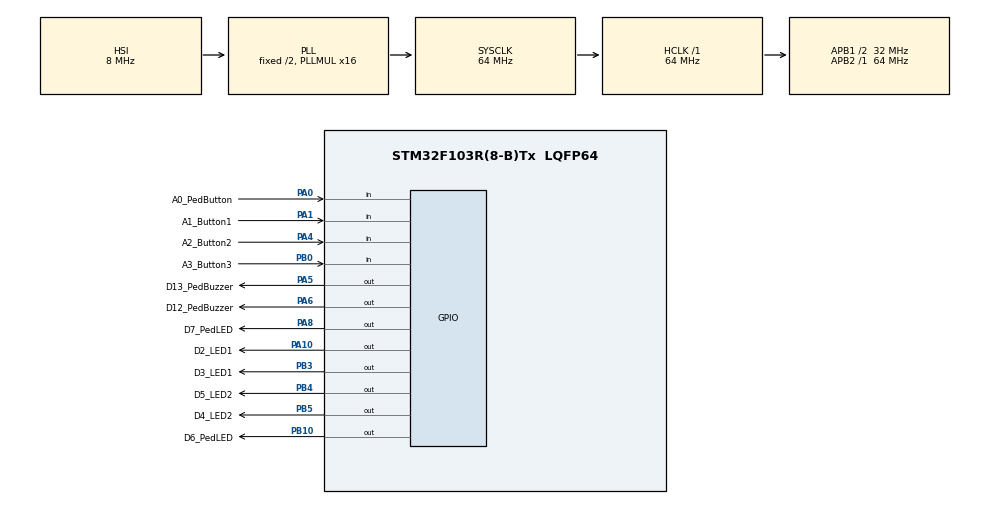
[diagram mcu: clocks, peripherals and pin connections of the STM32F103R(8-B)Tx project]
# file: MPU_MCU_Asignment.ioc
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Mcu.Family=STM32F1
Mcu.Name=STM32F103R(8-B)Tx
Mcu.Package=LQFP64
NVIC.PriorityGroup=NVIC_PRIORITYGROUP_4
NVIC.TIM2_IRQn=true\:0\:0\:false\:false\:true\:true\:true
PA0-WKUP.GPIO_Label=A0_PedButton
PA0-WKUP.Signal=GPIO_Input
PA1.GPIO_Label=A1_Button1
PA1.Signal=GPIO_Input
PA10.GPIO_Label=D2_LED1
PA10.Signal=GPIO_Output
PA13.Mode=Serial_Wire
PA13.Signal=SYS_JTMS-SWDIO
PA14.Mode=Serial_Wire
PA14.Signal=SYS_JTCK-SWCLK
PA4.GPIO_Label=A2_Button2
PA4.Signal=GPIO_Input
PA5.GPIO_Label=D13_PedBuzzer
PA5.Signal=GPIO_Output
PA6.GPIO_Label=D12_PedBuzzer
PA6.Signal=GPIO_Output
PA8.GPIO_Label=D7_PedLED
PA8.Signal=GPIO_Output
PB0.GPIO_Label=A3_Button3
PB0.Signal=GPIO_Input
PB10.GPIO_Label=D6_PedLED
PB10.Signal=GPIO_Output
PB3.GPIO_Label=D3_LED1
PB3.Signal=GPIO_Output
PB4.GPIO_Label=D5_LED2
PB4.Signal=GPIO_Output
PB5.GPIO_Label=D4_LED2
PB5.Signal=GPIO_Output
ProjectManager.HeapSize=0x200
ProjectManager.StackSize=0x400
ProjectManager.TargetToolchain=STM32CubeIDE
RCC.AHBFreq_Value=64000000
RCC.APB1CLKDivider=RCC_HCLK_DIV2
RCC.APB1Freq_Value=32000000
RCC.APB1TimFreq_Value=64000000
RCC.APB2Freq_Value=64000000
RCC.APB2TimFreq_Value=64000000
RCC.HCLKFreq_Value=64000000
RCC.PLLMUL=RCC_PLL_MUL16
RCC.SYSCLKFreq_VALUE=64000000
RCC.SYSCLKSource=RCC_SYSCLKSOURCE_PLLCLK
RCC.USBFreq_Value=64000000
TIM2.Period=9
TIM2.Prescaler=63999
VP_TIM2_VS_ClockSourceINT.Mode=Internal
board=custom

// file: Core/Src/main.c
/* USER CODE BEGIN Header */
/**
  ******************************************************************************
  * @file           : main.c
  * @brief          : Main program body
  ******************************************************************************
  * @attention
  *
  * <h2><center>&copy; Copyright (c) 2023 STMicroelectronics.
  * All rights reserved.</center></h2>
  *
  * This software component is licensed by ST under BSD 3-Clause license,
  * the "License"; You may not use this file except in compliance with the
  * License. You may obtain a copy of the License at:
  *                        opensource.org/licenses/BSD-3-Clause
  *
  ******************************************************************************
  */
/* USER CODE END Header */
#include "main.h"

/* USER CODE BEGIN Includes */
#include "input_processing.h"
#include "led_display.h"
#include "software_timer.h"
#include "input_reading.h"
/* USER CODE END Includes */

TIM_HandleTypeDef htim2;

void SystemClock_Config(void);
static void MX_GPIO_Init(void);
static void MX_TIM2_Init(void);

int main(void)
{

  /* MCU Configuration--------------------------------------------------------*/

  /* Reset of all peripherals, Initializes the Flash interface and the Systick. */
  HAL_Init();

  /* Configure the system clock */
  SystemClock_Config();

  /* Initialize all configured peripherals */
  MX_GPIO_Init();
  MX_TIM2_Init();
  /* USER CODE BEGIN 2 */
  HAL_TIM_Base_Start_IT(&htim2);
  /* USER CODE END 2 */

  /* Infinite loop */
  /* USER CODE BEGIN WHILE */

  const int sevenSegTimer=25;
  setTimer(0,sevenSegTimer);
  setTimer(1,30);
  setTimer(2,25);
  setTimer(3,100);
  setTimer(4,30);
//  int p_flag=0;
  init_for_automatic_leds();
  while (1)
  {
	  fsm_for_input_processing();
//	  button_reading(3);
//	  if(timer_flag[4]==1){
//		  setTimer(4,30);
//		  if(is_button_pressed(3)||is_button_pressed_1s(3)){
//			  if(p_flag==0){
//				  OnPed_Red();
//				  p_flag=1;
//			  }else{
//				  OffPed();
//				  p_flag=0;
//			  }
//		  }
//	  }
    /* USER CODE END WHILE */

  }
}

void SystemClock_Config(void)
{
  RCC_OscInitTypeDef RCC_OscInitStruct = {0};
  RCC_ClkInitTypeDef RCC_ClkInitStruct = {0};

  /** Initializes the RCC Oscillators according to the specified parameters
  * in the RCC_OscInitTypeDef structure.
  */
  RCC_OscInitStruct.OscillatorType = RCC_OSCILLATORTYPE_HSI;
  RCC_OscInitStruct.HSIState = RCC_HSI_ON;
  RCC_OscInitStruct.HSICalibrationValue = RCC_HSICALIBRATION_DEFAULT;
  RCC_OscInitStruct.PLL.PLLState = RCC_PLL_ON;
  RCC_OscInitStruct.PLL.PLLSource = RCC_PLLSOURCE_HSI_DIV2;
  RCC_OscInitStruct.PLL.PLLMUL = RCC_PLL_MUL16;
  if (HAL_RCC_OscConfig(&RCC_OscInitStruct) != HAL_OK)
  {
    Error_Handler();
  }
  /** Initializes the CPU, AHB and APB buses clocks
  */
  RCC_ClkInitStruct.ClockType = RCC_CLOCKTYPE_HCLK|RCC_CLOCKTYPE_SYSCLK
                              |RCC_CLOCKTYPE_PCLK1|RCC_CLOCKTYPE_PCLK2;
  RCC_ClkInitStruct.SYSCLKSource = RCC_SYSCLKSOURCE_PLLCLK;
  RCC_ClkInitStruct.AHBCLKDivider = RCC_SYSCLK_DIV1;
  RCC_ClkInitStruct.APB1CLKDivider = RCC_HCLK_DIV2;
  RCC_ClkInitStruct.APB2CLKDivider = RCC_HCLK_DIV1;

  if (HAL_RCC_ClockConfig(&RCC_ClkInitStruct, FLASH_LATENCY_2) != HAL_OK)
  {
    Error_Handler();
  }
}

static void MX_TIM2_Init(void)
{

  TIM_ClockConfigTypeDef sClockSourceConfig = {0};
  TIM_MasterConfigTypeDef sMasterConfig = {0};

  htim2.Instance = TIM2;
  htim2.Init.Prescaler = 63999;
  htim2.Init.CounterMode = TIM_COUNTERMODE_UP;
  htim2.Init.Period = 9;
  htim2.Init.ClockDivision = TIM_CLOCKDIVISION_DIV1;
  htim2.Init.AutoReloadPreload = TIM_AUTORELOAD_PRELOAD_DISABLE;
  if (HAL_TIM_Base_Init(&htim2) != HAL_OK)
  {
    Error_Handler();
  }
  sClockSourceConfig.ClockSource = TIM_CLOCKSOURCE_INTERNAL;
  if (HAL_TIM_ConfigClockSource(&htim2, &sClockSourceConfig) != HAL_OK)
  {
    Error_Handler();
  }
  sMasterConfig.MasterOutputTrigger = TIM_TRGO_RESET;
  sMasterConfig.MasterSlaveMode = TIM_MASTERSLAVEMODE_DISABLE;
  if (HAL_TIMEx_MasterConfigSynchronization(&htim2, &sMasterConfig) != HAL_OK)
  {
    Error_Handler();
  }

}

static void MX_GPIO_Init(void)
{
  GPIO_InitTypeDef GPIO_InitStruct = {0};

  /* GPIO Ports Clock Enable */
  __HAL_RCC_GPIOA_CLK_ENABLE();
  __HAL_RCC_GPIOB_CLK_ENABLE();

  /*Configure GPIO pin Output Level */
  HAL_GPIO_WritePin(GPIOA, D13_PedBuzzer_Pin|D12_PedBuzzer_Pin|D7_PedLED_Pin|D2_LED1_Pin, GPIO_PIN_RESET);

  /*Configure GPIO pin Output Level */
  HAL_GPIO_WritePin(GPIOB, D6_PedLED_Pin|D3_LED1_Pin|D5_LED2_Pin|D4_LED2_Pin, GPIO_PIN_RESET);

  /*Configure GPIO pins : A0_PedButton_Pin A1_Button1_Pin A2_Button2_Pin */
  GPIO_InitStruct.Pin = A0_PedButton_Pin|A1_Button1_Pin|A2_Button2_Pin;
  GPIO_InitStruct.Mode = GPIO_MODE_INPUT;
  GPIO_InitStruct.Pull = GPIO_NOPULL;
  HAL_GPIO_Init(GPIOA, &GPIO_InitStruct);

  /*Configure GPIO pins : D13_PedBuzzer_Pin D12_PedBuzzer_Pin D7_PedLED_Pin D2_LED1_Pin */
  GPIO_InitStruct.Pin = D13_PedBuzzer_Pin|D12_PedBuzzer_Pin|D7_PedLED_Pin|D2_LED1_Pin;
  GPIO_InitStruct.Mode = GPIO_MODE_OUTPUT_PP;
  GPIO_InitStruct.Pull = GPIO_NOPULL;
  GPIO_InitStruct.Speed = GPIO_SPEED_FREQ_LOW;
  HAL_GPIO_Init(GPIOA, &GPIO_InitStruct);

  /*Configure GPIO pin : A3_Button3_Pin */
  GPIO_InitStruct.Pin = A3_Button3_Pin;
  GPIO_InitStruct.Mode = GPIO_MODE_INPUT;
  GPIO_InitStruct.Pull = GPIO_NOPULL;
  HAL_GPIO_Init(A3_Button3_GPIO_Port, &GPIO_InitStruct);

  /*Configure GPIO pins : D6_PedLED_Pin D3_LED1_Pin D5_LED2_Pin D4_LED2_Pin */
  GPIO_InitStruct.Pin = D6_PedLED_Pin|D3_LED1_Pin|D5_LED2_Pin|D4_LED2_Pin;
  GPIO_InitStruct.Mode = GPIO_MODE_OUTPUT_PP;
  GPIO_InitStruct.Pull = GPIO_NOPULL;
  GPIO_InitStruct.Speed = GPIO_SPEED_FREQ_LOW;
  HAL_GPIO_Init(GPIOB, &GPIO_InitStruct);

}

/* USER CODE BEGIN 4 */
void HAL_TIM_PeriodElapsedCallback(TIM_HandleTypeDef *htim){
	timerRun();
	button_reading();
}
/* USER CODE END 4 */

void Error_Handler(void)
{
  __disable_irq();
  while (1)
  {
  }
}

/************************ (C) COPYRIGHT STMicroelectronics *****END OF FILE****/
